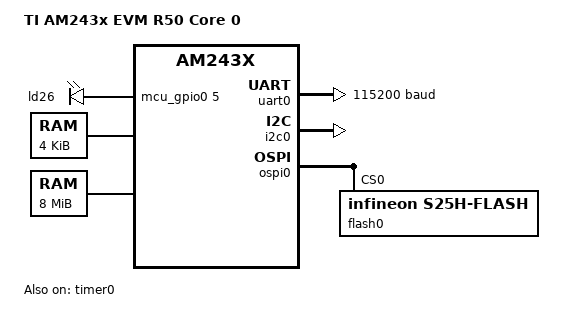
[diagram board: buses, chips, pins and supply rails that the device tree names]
/* Copyright (c) 2025 Texas Instruments Incorporated
 *
 * SPDX-License-Identifier: Apache-2.0
 */

/dts-v1/;

#include <zephyr/dt-bindings/gpio/gpio.h>
#include <ti/am64x_r5.dtsi>
#include "am243x_evm_am2434_r5f0_0-pinctrl.dtsi"

/ {
	model = "TI AM243x EVM R50 Core 0";
	compatible = "ti,am243x-evm-r5";

	chosen {
		zephyr,sram = &sram;
		zephyr,sram1 = &atcm;
		zephyr,console = &uart0;
		zephyr,shell-uart = &uart0;
		zephyr,ipc = &ipc0;
		zephyr,ipc-shm = &ipc_shm0;
	};

	aliases {
		led0 = &ld26;
	};

	leds: leds {
		compatible = "gpio-leds";

		ld26: led_0 {
			gpios = <&mcu_gpio0 5 GPIO_ACTIVE_HIGH>;
		};
	};

	rsc_table: memory@a0100000 {
		compatible = "zephyr,memory-region", "mmio-sram";
		reg = <0xa0100000 DT_SIZE_K(4)>;
		zephyr,memory-region = "RSC_TABLE";
		zephyr,memory-attr = <( DT_MEM_ARM(ATTR_MPU_RAM) )>;
	};

	ipc_shm0: memory@a5000000 {
		compatible = "zephyr,memory-region", "mmio-sram";
		reg = <0xa5000000 DT_SIZE_M(8)>;
		zephyr,memory-region = "IPC_SHM";
		zephyr,memory-attr = <( DT_MEM_ARM(ATTR_MPU_IO) )>;
	};

	ipc0: ipc {
		compatible = "zephyr,mbox-ipm";
		mboxes = <&mbox6 0>, <&mbox6 1>;
		mbox-names = "rx", "tx";
	};
};

/* system timer */
&timer0 {
	status = "okay";
};

&uart0 {
	status = "okay";
	pinctrl-0 = <&uart0_tx &uart0_rx>;
	pinctrl-names = "default";
	current-speed = <115200>;
};

&mcu_gpio0 {
	pinctrl-0 = <&mcu_gpio0_led>;
	pinctrl-names = "default";
	status = "okay";
};

&i2c0 {
	pinctrl-0 = <&i2c0_scl &i2c0_sda>;
	pinctrl-names = "default";
	status = "okay";
};

&mbox6 {
	usr-id = <0>;
	status = "okay";
};

&ospi0 {
pinctrl-0 = <&ospi_clk &ospi_d0 &ospi_d1 &ospi_d2 &ospi_d3 &ospi_dqs &ospi_lbclko &ospi_d4 &ospi_d5 &ospi_d6 &ospi_d7>;
	pinctrl-names = "default";
  status = "okay";

	flash0: flash@0 {
		compatible = "infineon,s25h-flash";
		status = "okay";
    jedec-id = [34 5B 1A];
		reg = <0>;
pinctrl-0 = <&ospi_csn0>;
	pinctrl-names = "default";

		write-block-size = <256>;
		erase-block-size = <262144>;
		flash-size = <536870912>;
		reset-startup-time-us = <500000>;

		mspi-max-frequency = <DT_FREQ_M(25)>;
		mspi-io-mode = "MSPI_IO_MODE_OCTAL";
		mspi-data-rate = "MSPI_DATA_RATE_DUAL";
		mspi-hardware-ce-num = <0>;
		mspi-cpp-mode = "MSPI_CPP_MODE_0";
    command-length = "INSTR_2_BYTE";
    address-length = "ADDR_4_BYTE";
		mspi-ce-polarity = "MSPI_CE_ACTIVE_LOW";
	};
};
